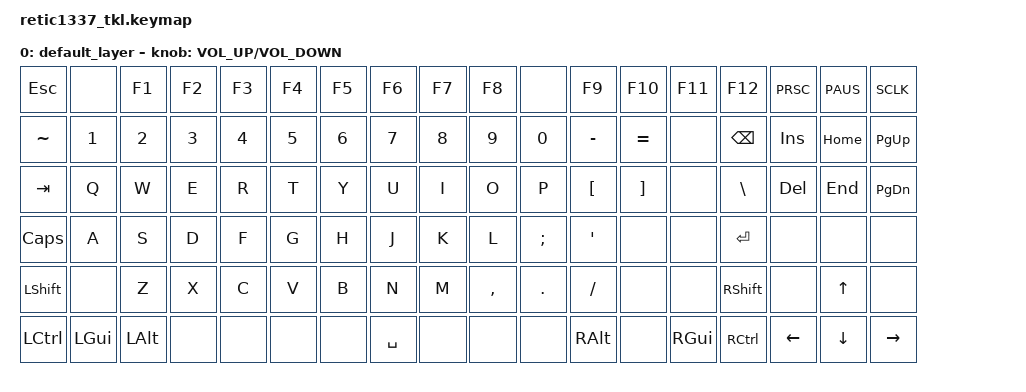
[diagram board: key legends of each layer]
/*
 * Copyright (c) 2020 The ZMK Contributors
 *
 * SPDX-License-Identifier: MIT
 */

#include <behaviors.dtsi>
#include <dt-bindings/zmk/keys.h>
#include <dt-bindings/zmk/bt.h>

/ {
ledmap {
	compatible = "zmk,ledmap";
	num_of_led = <108>;
	ledmap = <1  0  3  5  7  9 11 13 15 65  0 67 69 71 73 75 77 79
		17 20 22 24 26 28 30 80 81 82 83 84 85  0 86 87 88 90
		19 21 23 25 27 29 31 96 98 100 102 104 106 0 108 109 110 92
		34 36 38 40 42 44 46 97 99 101 103 105 0 0 107 0 0 0
		35 0  37 39 41 43 45 47 112 113 114 115 0 0 119 0 111 0
		49 51 53 0 0 0 0 57 0 0 0 62 116 118 121 123 125 127>;
};
keymap {
	compatible = "zmk,keymap";

	default_layer {
		bindings = <
			&kp ESC   &none &kp F1   &kp F2   &kp F3   &kp F4   &kp F5   &kp F6    &kp F7    &kp F8    &none &kp F9     &kp F10   &kp F11  &kp F12   &kp PRSC   &kp PAUS &kp SCLK
 			&kp TILDE &kp N1   &kp N2   &kp N3   &kp N4   &kp N5   &kp N6   &kp N7    &kp   N8  &kp  N9   &kp  N0  &kp MINUS  &kp EQUAL &none &kp BSPC  &kp INS    &kp HOME &kp PG_UP
			&kp TAB   &kp Q    &kp W    &kp E    &kp R    &kp T    &kp Y    &kp U     &kp   I   &kp  O    &kp   P  &kp LBKT   &kp RBKT  &none &kp BSLH  &kp DELETE &kp END  &kp PG_DN
			&kp CLCK  &kp A    &kp S    &kp D    &kp F    &kp G    &kp H    &kp J     &kp   K   &kp  L    &kp SEMI &kp SQT    &none  &none &kp RET   &none   &none &none
			&kp LSHFT &none &kp Z    &kp X    &kp C    &kp V    &kp B    &kp N     &kp M     &kp COMMA &kp DOT  &kp FSLH   &none  &none &kp RSHFT &none   &kp UP   &none
			&kp LCTRL &kp LGUI &kp LALT &none &none &none &none &kp SPACE &none  &none  &none &kp RALT   &none  &kp RGUI &kp RCTRL &kp LEFT   &kp DOWN &kp RIGHT
			>;
		sensor-bindings = <&inc_dec_kp C_VOLUME_UP C_VOLUME_DOWN>;
		};
	};
};
